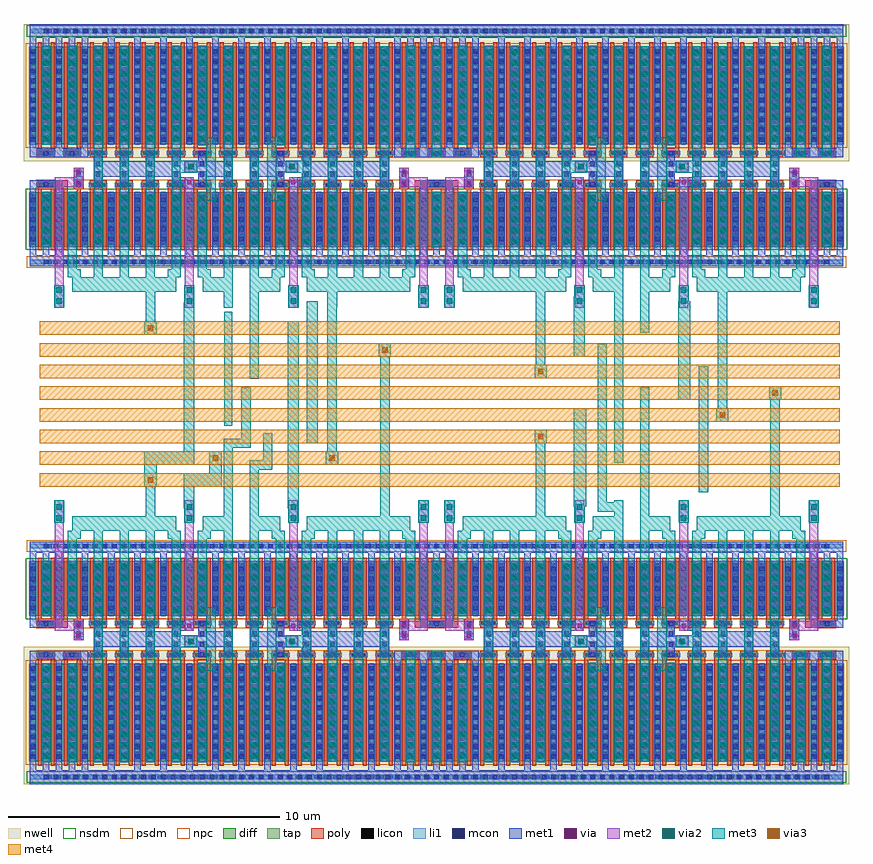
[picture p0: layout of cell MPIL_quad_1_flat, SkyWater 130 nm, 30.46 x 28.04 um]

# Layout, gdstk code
import gdstk
lib = gdstk.Library(unit=1e-6, precision=1e-09)
def R(c, l, rs):  # rectangles x0, y0, x1, y1
    for r in rs: c.add(gdstk.rectangle(r[:2], r[2:], *l))
def A(c, l, x, y, w, h, nx, ny, dx, dy):  # array of equal rectangles
    R(c, l, [(x+i*dx, y+j*dy, x+i*dx+w, y+j*dy+h) for i in range(nx) for j in range(ny)])
nwell = (64, 20)
diff = (65, 20)
tap = (65, 44)
poly = (66, 20)
licon = (66, 44)
li1 = (67, 20)
mcon = (67, 44)
met1 = (68, 20)
via = (68, 44)
met2 = (69, 20)
via2 = (69, 44)
met3 = (70, 20)
via3 = (70, 44)
met4 = (71, 20)
nsdm = (93, 44)
psdm = (94, 20)
npc = (95, 20)

mpil_quad_1_flat = lib.new_cell('MPIL_quad_1_flat')
R(mpil_quad_1_flat, nwell, [(-0.1,-17.57,30.36,-12.5), (-0.1,5.4,30.36,10.47)])
R(mpil_quad_1_flat, diff, [(0.105,-16.735,30.155,-13.135), (0.105,-11.36,30.155,-9.36), (0.105,2.26,30.155,4.26), (0.105,6.035,30.155,9.635)])
R(mpil_quad_1_flat, tap, [(0.13,-17.39,30.13,-17.22), (0.13,-8.88,30.13,-8.71), (0.13,1.61,30.13,1.78), (0.13,10.12,30.13,10.29)])
A(mpil_quad_1_flat, poly, 0.415, -16.89, 0.15, 3.91, 62, 2, 0.48, 22.77)
A(mpil_quad_1_flat, poly, 0.415, -12.98, 0.63, 0.33, 31, 2, 0.96, 18.53)
A(mpil_quad_1_flat, poly, 2.335, -11.8, 0.63, 0.33, 12, 2, 0.96, 16.17)
A(mpil_quad_1_flat, poly, 16.735, -11.8, 0.63, 0.33, 12, 2, 0.96, 16.17)
A(mpil_quad_1_flat, poly, 0.415, -11.47, 0.15, 2.24, 62, 2, 0.48, 13.6)
R(mpil_quad_1_flat, poly, [(0.415,-11.8,1.525,-11.47), (1.75,-11.8,2.11,-11.47), (13.75,-11.8,14.11,-11.47), (14.335,-11.8,15.925,-11.47), (16.15,-11.8,16.51,-11.47), (28.15,-11.8,28.51,-11.47), (28.735,-11.8,29.845,-11.47), (0.415,4.37,1.525,4.7), (1.75,4.37,2.11,4.7), (13.75,4.37,14.11,4.7), (14.335,4.37,15.925,4.7), (16.15,4.37,16.51,4.7), (28.15,4.37,28.51,4.7), (28.735,4.37,29.845,4.7)])
A(mpil_quad_1_flat, licon, 0.765, -17.39, 0.17, 0.17, 85, 2, 0.34, 8.51)
A(mpil_quad_1_flat, licon, 0.165, -16.55, 0.17, 0.17, 63, 10, 0.48, 0.34)
A(mpil_quad_1_flat, licon, 0.165, -11.295, 0.17, 0.17, 63, 6, 0.48, 0.34)
A(mpil_quad_1_flat, licon, 0.765, 1.61, 0.17, 0.17, 85, 2, 0.34, 8.51)
A(mpil_quad_1_flat, licon, 0.165, 2.325, 0.17, 0.17, 63, 6, 0.48, 0.34)
A(mpil_quad_1_flat, licon, 0.165, 6.22, 0.17, 0.17, 63, 10, 0.48, 0.34)
R(mpil_quad_1_flat, licon, [(0.47,-12.9,0.64,-12.73), (0.81,-12.9,0.98,-12.73), (1.43,-12.9,1.6,-12.73), (1.77,-12.9,1.94,-12.73), (2.39,-12.9,2.56,-12.73), (2.73,-12.9,2.9,-12.73), (3.35,-12.9,3.52,-12.73), (3.69,-12.9,3.86,-12.73), (4.31,-12.9,4.48,-12.73), (4.65,-12.9,4.82,-12.73), (5.27,-12.9,5.44,-12.73), (5.61,-12.9,5.78,-12.73), (6.23,-12.9,6.4,-12.73), (6.57,-12.9,6.74,-12.73), (7.19,-12.9,7.36,-12.73), (7.53,-12.9,7.7,-12.73), (8.155,-12.9,8.325,-12.73), (8.495,-12.9,8.665,-12.73), (9.115,-12.9,9.285,-12.73), (9.455,-12.9,9.625,-12.73), (10.075,-12.9,10.245,-12.73), (10.415,-12.9,10.585,-12.73), (11.035,-12.9,11.205,-12.73), (11.375,-12.9,11.545,-12.73), (11.995,-12.9,12.165,-12.73), (12.335,-12.9,12.505,-12.73), (12.955,-12.9,13.125,-12.73), (13.295,-12.9,13.465,-12.73), (13.915,-12.9,14.085,-12.73), (14.255,-12.9,14.425,-12.73), (14.875,-12.9,15.045,-12.73), (15.215,-12.9,15.385,-12.73), (15.83,-12.9,16,-12.73), (16.17,-12.9,16.34,-12.73), (16.79,-12.9,16.96,-12.73), (17.13,-12.9,17.3,-12.73), (17.75,-12.9,17.92,-12.73), (18.09,-12.9,18.26,-12.73), (18.71,-12.9,18.88,-12.73), (19.05,-12.9,19.22,-12.73), (19.67,-12.9,19.84,-12.73), (20.01,-12.9,20.18,-12.73), (20.63,-12.9,20.8,-12.73), (20.97,-12.9,21.14,-12.73), (21.59,-12.9,21.76,-12.73), (21.93,-12.9,22.1,-12.73), (22.555,-12.9,22.725,-12.73), (22.895,-12.9,23.065,-12.73), (23.515,-12.9,23.685,-12.73), (23.855,-12.9,24.025,-12.73), (24.475,-12.9,24.645,-12.73), (24.815,-12.9,24.985,-12.73), (25.435,-12.9,25.605,-12.73), (25.775,-12.9,25.945,-12.73), (26.395,-12.9,26.565,-12.73), (26.735,-12.9,26.905,-12.73), (27.355,-12.9,27.525,-12.73), (27.695,-12.9,27.865,-12.73), (28.315,-12.9,28.485,-12.73), (28.655,-12.9,28.825,-12.73), (29.275,-12.9,29.445,-12.73), (29.615,-12.9,29.785,-12.73), (1.84,-11.75,2.01,-11.58), (13.85,-11.75,14.02,-11.58), (16.24,-11.75,16.41,-11.58), (28.25,-11.75,28.42,-11.58), (0.47,-11.72,0.64,-11.55), (0.81,-11.72,0.98,-11.55), (2.39,-11.72,2.56,-11.55), (2.73,-11.72,2.9,-11.55), (3.35,-11.72,3.52,-11.55), (3.69,-11.72,3.86,-11.55), (4.31,-11.72,4.48,-11.55), (4.65,-11.72,4.82,-11.55), (5.27,-11.72,5.44,-11.55), (5.61,-11.72,5.78,-11.55), (6.23,-11.72,6.4,-11.55), (6.57,-11.72,6.74,-11.55), (7.19,-11.72,7.36,-11.55), (7.53,-11.72,7.7,-11.55), (8.155,-11.72,8.325,-11.55), (8.495,-11.72,8.665,-11.55), (9.115,-11.72,9.285,-11.55), (9.455,-11.72,9.625,-11.55), (10.075,-11.72,10.245,-11.55), (10.415,-11.72,10.585,-11.55), (11.035,-11.72,11.205,-11.55), (11.375,-11.72,11.545,-11.55), (11.995,-11.72,12.165,-11.55), (12.335,-11.72,12.505,-11.55), (12.955,-11.72,13.125,-11.55), (13.295,-11.72,13.465,-11.55), (14.875,-11.72,15.045,-11.55), (15.215,-11.72,15.385,-11.55), (16.79,-11.72,16.96,-11.55), (17.13,-11.72,17.3,-11.55), (17.75,-11.72,17.92,-11.55), (18.09,-11.72,18.26,-11.55), (18.71,-11.72,18.88,-11.55), (19.05,-11.72,19.22,-11.55), (19.67,-11.72,19.84,-11.55), (20.01,-11.72,20.18,-11.55), (20.63,-11.72,20.8,-11.55), (20.97,-11.72,21.14,-11.55), (21.59,-11.72,21.76,-11.55), (21.93,-11.72,22.1,-11.55), (22.555,-11.72,22.725,-11.55), (22.895,-11.72,23.065,-11.55), (23.515,-11.72,23.685,-11.55), (23.855,-11.72,24.025,-11.55), (24.475,-11.72,24.645,-11.55), (24.815,-11.72,24.985,-11.55), (25.435,-11.72,25.605,-11.55), (25.775,-11.72,25.945,-11.55), (26.395,-11.72,26.565,-11.55), (26.735,-11.72,26.905,-11.55), (27.355,-11.72,27.525,-11.55), (27.695,-11.72,27.865,-11.55), (29.275,-11.72,29.445,-11.55), (29.615,-11.72,29.785,-11.55), (0.47,4.45,0.64,4.62), (0.81,4.45,0.98,4.62), (2.39,4.45,2.56,4.62), (2.73,4.45,2.9,4.62), (3.35,4.45,3.52,4.62), (3.69,4.45,3.86,4.62), (4.31,4.45,4.48,4.62), (4.65,4.45,4.82,4.62), (5.27,4.45,5.44,4.62), (5.61,4.45,5.78,4.62), (6.23,4.45,6.4,4.62), (6.57,4.45,6.74,4.62), (7.19,4.45,7.36,4.62), (7.53,4.45,7.7,4.62), (8.155,4.45,8.325,4.62), (8.495,4.45,8.665,4.62), (9.115,4.45,9.285,4.62), (9.455,4.45,9.625,4.62), (10.075,4.45,10.245,4.62), (10.415,4.45,10.585,4.62), (11.035,4.45,11.205,4.62), (11.375,4.45,11.545,4.62), (11.995,4.45,12.165,4.62), (12.335,4.45,12.505,4.62), (12.955,4.45,13.125,4.62), (13.295,4.45,13.465,4.62), (14.875,4.45,15.045,4.62), (15.215,4.45,15.385,4.62), (16.79,4.45,16.96,4.62), (17.13,4.45,17.3,4.62), (17.75,4.45,17.92,4.62), (18.09,4.45,18.26,4.62), (18.71,4.45,18.88,4.62), (19.05,4.45,19.22,4.62), (19.67,4.45,19.84,4.62), (20.01,4.45,20.18,4.62), (20.63,4.45,20.8,4.62), (20.97,4.45,21.14,4.62), (21.59,4.45,21.76,4.62), (21.93,4.45,22.1,4.62), (22.555,4.45,22.725,4.62), (22.895,4.45,23.065,4.62), (23.515,4.45,23.685,4.62), (23.855,4.45,24.025,4.62), (24.475,4.45,24.645,4.62), (24.815,4.45,24.985,4.62), (25.435,4.45,25.605,4.62), (25.775,4.45,25.945,4.62), (26.395,4.45,26.565,4.62), (26.735,4.45,26.905,4.62), (27.355,4.45,27.525,4.62), (27.695,4.45,27.865,4.62), (29.275,4.45,29.445,4.62), (29.615,4.45,29.785,4.62), (1.84,4.48,2.01,4.65), (13.85,4.48,14.02,4.65), (16.24,4.48,16.41,4.65), (28.25,4.48,28.42,4.65), (0.47,5.63,0.64,5.8), (0.81,5.63,0.98,5.8), (1.43,5.63,1.6,5.8), (1.77,5.63,1.94,5.8), (2.39,5.63,2.56,5.8), (2.73,5.63,2.9,5.8), (3.35,5.63,3.52,5.8), (3.69,5.63,3.86,5.8), (4.31,5.63,4.48,5.8), (4.65,5.63,4.82,5.8), (5.27,5.63,5.44,5.8), (5.61,5.63,5.78,5.8), (6.23,5.63,6.4,5.8), (6.57,5.63,6.74,5.8), (7.19,5.63,7.36,5.8), (7.53,5.63,7.7,5.8), (8.155,5.63,8.325,5.8), (8.495,5.63,8.665,5.8), (9.115,5.63,9.285,5.8), (9.455,5.63,9.625,5.8), (10.075,5.63,10.245,5.8), (10.415,5.63,10.585,5.8), (11.035,5.63,11.205,5.8), (11.375,5.63,11.545,5.8), (11.995,5.63,12.165,5.8), (12.335,5.63,12.505,5.8), (12.955,5.63,13.125,5.8), (13.295,5.63,13.465,5.8), (13.915,5.63,14.085,5.8), (14.255,5.63,14.425,5.8), (14.875,5.63,15.045,5.8), (15.215,5.63,15.385,5.8), (15.83,5.63,16,5.8), (16.17,5.63,16.34,5.8), (16.79,5.63,16.96,5.8), (17.13,5.63,17.3,5.8), (17.75,5.63,17.92,5.8), (18.09,5.63,18.26,5.8), (18.71,5.63,18.88,5.8), (19.05,5.63,19.22,5.8), (19.67,5.63,19.84,5.8), (20.01,5.63,20.18,5.8), (20.63,5.63,20.8,5.8), (20.97,5.63,21.14,5.8), (21.59,5.63,21.76,5.8), (21.93,5.63,22.1,5.8), (22.555,5.63,22.725,5.8), (22.895,5.63,23.065,5.8), (23.515,5.63,23.685,5.8), (23.855,5.63,24.025,5.8), (24.475,5.63,24.645,5.8), (24.815,5.63,24.985,5.8), (25.435,5.63,25.605,5.8), (25.775,5.63,25.945,5.8), (26.395,5.63,26.565,5.8), (26.735,5.63,26.905,5.8), (27.355,5.63,27.525,5.8), (27.695,5.63,27.865,5.8), (28.315,5.63,28.485,5.8), (28.655,5.63,28.825,5.8), (29.275,5.63,29.445,5.8), (29.615,5.63,29.785,5.8)])
A(mpil_quad_1_flat, li1, 0.165, -16.755, 0.17, 3.64, 63, 2, 0.48, 22.77)
A(mpil_quad_1_flat, li1, 0.385, -12.9, 0.685, 0.17, 8, 2, 0.96, 18.53)
A(mpil_quad_1_flat, li1, 8.07, -12.9, 0.685, 0.17, 7, 2, 0.96, 18.53)
A(mpil_quad_1_flat, li1, 15.745, -12.9, 0.685, 0.17, 7, 2, 0.96, 18.53)
A(mpil_quad_1_flat, li1, 22.47, -12.9, 0.685, 0.17, 8, 2, 0.96, 18.53)
A(mpil_quad_1_flat, li1, 2.5, -12.73, 0.29, 0.42, 6, 2, 0.96, 0.59)
A(mpil_quad_1_flat, li1, 8.27, -12.73, 0.29, 0.42, 6, 2, 0.96, 0.59)
A(mpil_quad_1_flat, li1, 16.9, -12.73, 0.29, 0.42, 6, 2, 0.96, 0.59)
A(mpil_quad_1_flat, li1, 22.67, -12.73, 0.29, 0.42, 6, 2, 0.96, 0.59)
A(mpil_quad_1_flat, li1, 2.305, -11.72, 0.685, 0.17, 6, 2, 0.96, 16.17)
A(mpil_quad_1_flat, li1, 8.07, -11.72, 0.685, 0.17, 6, 2, 0.96, 16.17)
A(mpil_quad_1_flat, li1, 16.705, -11.72, 0.685, 0.17, 6, 2, 0.96, 16.17)
A(mpil_quad_1_flat, li1, 22.47, -11.72, 0.685, 0.17, 6, 2, 0.96, 16.17)
A(mpil_quad_1_flat, li1, 0.165, -11.38, 0.17, 2.04, 63, 2, 0.48, 13.62)
A(mpil_quad_1_flat, li1, 2.5, 4.62, 0.29, 0.42, 6, 2, 0.96, 0.59)
A(mpil_quad_1_flat, li1, 8.27, 4.62, 0.29, 0.42, 6, 2, 0.96, 0.59)
A(mpil_quad_1_flat, li1, 16.9, 4.62, 0.29, 0.42, 6, 2, 0.96, 0.59)
A(mpil_quad_1_flat, li1, 22.67, 4.62, 0.29, 0.42, 6, 2, 0.96, 0.59)
R(mpil_quad_1_flat, li1, [(0.13,-17.39,30.13,-17.22), (14.785,-12.9,15.475,-12.73), (0.58,-12.73,0.87,-12.65), (1.54,-12.73,1.83,-12.65), (14.03,-12.73,14.32,-12.65), (14.98,-12.73,15.28,-12.65), (15.94,-12.73,16.23,-12.65), (28.43,-12.73,28.72,-12.65), (29.39,-12.73,29.68,-12.65), (1.75,-12.14,2.11,-11.55), (13.75,-12.14,14.11,-11.55), (16.15,-12.14,16.51,-11.55), (28.15,-12.14,28.51,-11.55), (0.58,-11.8,0.87,-11.72), (14.98,-11.8,15.28,-11.72), (29.39,-11.8,29.68,-11.72), (0.385,-11.72,1.07,-11.55), (14.785,-11.72,15.475,-11.55), (29.19,-11.72,29.875,-11.55), (0.13,-8.88,30.13,-8.71), (0.13,1.61,30.13,1.78), (0.385,4.45,1.07,4.62), (1.75,4.45,2.11,5.04), (13.75,4.45,14.11,5.04), (14.785,4.45,15.475,4.62), (16.15,4.45,16.51,5.04), (28.15,4.45,28.51,5.04), (29.19,4.45,29.875,4.62), (0.58,4.62,0.87,4.7), (14.98,4.62,15.28,4.7), (29.39,4.62,29.68,4.7), (0.58,5.55,0.87,5.63), (1.54,5.55,1.83,5.63), (14.03,5.55,14.32,5.63), (14.98,5.55,15.28,5.63), (15.94,5.55,16.23,5.63), (28.43,5.55,28.72,5.63), (29.39,5.55,29.68,5.63), (14.785,5.63,15.475,5.8), (0.13,10.12,30.13,10.29)])
A(mpil_quad_1_flat, mcon, 0.645, -17.39, 0.17, 0.17, 81, 2, 0.36, 8.51)
A(mpil_quad_1_flat, mcon, 0.165, -16.64, 0.17, 0.17, 63, 10, 0.48, 0.36)
A(mpil_quad_1_flat, mcon, 0.64, -12.87, 0.17, 0.17, 8, 2, 0.96, 18.47)
A(mpil_quad_1_flat, mcon, 8.33, -12.87, 0.17, 0.17, 7, 2, 0.96, 18.47)
A(mpil_quad_1_flat, mcon, 16, -12.87, 0.17, 0.17, 7, 2, 0.96, 18.47)
A(mpil_quad_1_flat, mcon, 22.73, -12.87, 0.17, 0.17, 8, 2, 0.96, 18.47)
A(mpil_quad_1_flat, mcon, 2.56, -12.51, 0.17, 0.17, 6, 2, 0.96, 0.4)
A(mpil_quad_1_flat, mcon, 8.33, -12.51, 0.17, 0.17, 6, 2, 0.96, 0.4)
A(mpil_quad_1_flat, mcon, 16.96, -12.51, 0.17, 0.17, 6, 2, 0.96, 0.4)
A(mpil_quad_1_flat, mcon, 22.73, -12.51, 0.17, 0.17, 6, 2, 0.96, 0.4)
A(mpil_quad_1_flat, mcon, 2.56, -11.75, 0.17, 0.17, 6, 2, 0.96, 16.23)
A(mpil_quad_1_flat, mcon, 8.33, -11.75, 0.17, 0.17, 6, 2, 0.96, 16.23)
A(mpil_quad_1_flat, mcon, 13.85, -11.75, 0.17, 0.17, 3, 2, 1.195, 16.23)
A(mpil_quad_1_flat, mcon, 16.96, -11.75, 0.17, 0.17, 6, 2, 0.96, 16.23)
A(mpil_quad_1_flat, mcon, 22.73, -11.75, 0.17, 0.17, 6, 2, 0.96, 16.23)
A(mpil_quad_1_flat, mcon, 0.165, -11.165, 0.17, 0.17, 63, 5, 0.48, 0.36)
A(mpil_quad_1_flat, mcon, 0.645, 1.61, 0.17, 0.17, 81, 2, 0.36, 8.51)
A(mpil_quad_1_flat, mcon, 0.165, 2.455, 0.17, 0.17, 63, 5, 0.48, 0.36)
A(mpil_quad_1_flat, mcon, 2.56, 4.84, 0.17, 0.17, 6, 2, 0.96, 0.4)
A(mpil_quad_1_flat, mcon, 8.33, 4.84, 0.17, 0.17, 6, 2, 0.96, 0.4)
A(mpil_quad_1_flat, mcon, 16.96, 4.84, 0.17, 0.17, 6, 2, 0.96, 0.4)
A(mpil_quad_1_flat, mcon, 22.73, 4.84, 0.17, 0.17, 6, 2, 0.96, 0.4)
A(mpil_quad_1_flat, mcon, 0.165, 6.13, 0.17, 0.17, 63, 10, 0.48, 0.36)
R(mpil_quad_1_flat, mcon, [(15.045,-12.87,15.215,-12.7), (1.84,-12.11,2.01,-11.94), (13.85,-12.11,14.02,-11.94), (16.24,-12.11,16.41,-11.94), (28.25,-12.11,28.42,-11.94), (0.64,-11.75,0.81,-11.58), (1.84,-11.75,2.01,-11.58), (28.25,-11.75,28.42,-11.58), (29.45,-11.75,29.62,-11.58), (0.64,4.48,0.81,4.65), (1.84,4.48,2.01,4.65), (28.25,4.48,28.42,4.65), (29.45,4.48,29.62,4.65), (1.84,4.84,2.01,5.01), (13.85,4.84,14.02,5.01), (16.24,4.84,16.41,5.01), (28.25,4.84,28.42,5.01), (15.045,5.6,15.215,5.77)])
A(mpil_quad_1_flat, met1, 0.13, -17.07, 0.24, 4.09, 3, 2, 0.96, 22.95)
A(mpil_quad_1_flat, met1, 3.01, -17.07, 0.24, 3.94, 11, 2, 0.96, 23.1)
A(mpil_quad_1_flat, met1, 13.57, -17.07, 0.24, 4.09, 4, 2, 0.96, 22.95)
A(mpil_quad_1_flat, met1, 14.05, -17.07, 0.24, 0.31, 3, 2, 0.96, 26.73)
A(mpil_quad_1_flat, met1, 17.41, -17.07, 0.24, 3.94, 11, 2, 0.96, 23.1)
A(mpil_quad_1_flat, met1, 27.97, -17.07, 0.24, 4.09, 3, 2, 0.96, 22.95)
A(mpil_quad_1_flat, met1, 0.6, -16.76, 0.26, 3.64, 8, 2, 0.96, 22.78)
A(mpil_quad_1_flat, met1, 14.04, -16.76, 0.26, 3.64, 9, 2, 0.96, 22.78)
A(mpil_quad_1_flat, met1, 8.28, -16.755, 0.26, 3.64, 6, 2, 0.96, 22.77)
A(mpil_quad_1_flat, met1, 22.68, -16.755, 0.26, 3.64, 6, 2, 0.96, 22.77)
A(mpil_quad_1_flat, met1, 2.5, -12.9, 0.29, 0.39, 6, 2, 0.96, 18.31)
A(mpil_quad_1_flat, met1, 8.27, -12.9, 0.29, 0.39, 6, 2, 0.96, 18.31)
A(mpil_quad_1_flat, met1, 16.9, -12.9, 0.29, 0.39, 6, 2, 0.96, 18.31)
A(mpil_quad_1_flat, met1, 22.67, -12.9, 0.29, 0.39, 6, 2, 0.96, 18.31)
A(mpil_quad_1_flat, met1, 2.5, -11.94, 0.29, 0.39, 3, 2, 0.96, 16.39)
A(mpil_quad_1_flat, met1, 11.15, -11.94, 0.29, 0.39, 3, 2, 0.96, 16.39)
A(mpil_quad_1_flat, met1, 16.9, -11.94, 0.29, 0.39, 3, 2, 0.96, 16.39)
A(mpil_quad_1_flat, met1, 25.55, -11.94, 0.29, 0.39, 3, 2, 0.96, 16.39)
A(mpil_quad_1_flat, met1, 0.13, -11.8, 1.2, 0.25, 3, 2, 14.4, 16.25)
A(mpil_quad_1_flat, met1, 0.6, -11.38, 0.26, 2.04, 31, 2, 0.96, 13.62)
A(mpil_quad_1_flat, met1, 2.05, -11.36, 0.24, 2.33, 13, 2, 0.96, 13.29)
A(mpil_quad_1_flat, met1, 16.45, -11.36, 0.24, 2.33, 13, 2, 0.96, 13.29)
A(mpil_quad_1_flat, met1, 0.61, -9.34, 0.24, 0.31, 3, 2, 14.4, 11.27)
R(mpil_quad_1_flat, met1, [(0.13,-17.57,30.13,-17.07), (0.61,-17.07,0.85,-16.76), (1.57,-17.07,1.81,-16.76), (28.45,-17.07,28.69,-16.76), (29.41,-17.07,29.65,-16.76), (28.44,-16.76,28.7,-13.12), (29.4,-16.76,29.66,-13.12), (0.13,-12.98,2.29,-12.65), (13.57,-12.98,16.69,-12.65), (27.97,-12.98,30.13,-12.65), (2.5,-12.51,5.67,-11.94), (5.85,-12.51,7.59,-12.1), (8.27,-12.51,10.01,-12.1), (10.19,-12.51,13.36,-11.94), (16.9,-12.51,20.07,-11.94), (20.25,-12.51,21.99,-12.1), (22.67,-12.51,24.41,-12.1), (24.59,-12.51,27.76,-11.94), (1.75,-12.27,2.11,-11.55), (13.75,-12.27,14.11,-11.55), (16.15,-12.27,16.51,-11.55), (28.15,-12.27,28.51,-11.55), (6.34,-12.1,7.59,-11.94), (8.27,-12.1,9.52,-11.94), (20.74,-12.1,21.99,-11.94), (22.67,-12.1,23.92,-11.94), (5.38,-11.94,5.67,-11.91), (6.34,-11.94,6.63,-11.55), (7.3,-11.94,7.59,-11.55), (8.27,-11.94,8.56,-11.55), (9.23,-11.94,9.52,-11.55), (10.19,-11.94,10.48,-11.91), (19.78,-11.94,20.07,-11.91), (20.74,-11.94,21.03,-11.55), (21.7,-11.94,21.99,-11.55), (22.67,-11.94,22.96,-11.55), (23.63,-11.94,23.92,-11.55), (24.59,-11.94,24.88,-11.91), (5.38,-11.91,6.17,-11.55), (9.69,-11.91,10.48,-11.55), (19.78,-11.91,20.57,-11.55), (24.09,-11.91,24.88,-11.55), (0.13,-11.55,0.37,-9.03), (1.09,-11.55,1.33,-9.03), (5.85,-11.55,6.17,-11.5), (9.69,-11.55,10.19,-11.54), (14.53,-11.55,14.77,-9.03), (15.49,-11.55,15.73,-9.03), (20.25,-11.55,20.57,-11.5), (24.09,-11.55,24.59,-11.54), (28.93,-11.55,29.17,-9.03), (29.89,-11.55,30.13,-9.03), (0.13,-9.03,30.13,-8.63), (0.13,1.53,30.13,1.93), (0.13,1.93,0.37,4.45), (1.09,1.93,1.33,4.45), (14.53,1.93,14.77,4.45), (15.49,1.93,15.73,4.45), (28.93,1.93,29.17,4.45), (29.89,1.93,30.13,4.45), (5.85,4.4,6.17,4.45), (20.25,4.4,20.57,4.45), (9.69,4.44,10.19,4.45), (24.09,4.44,24.59,4.45), (1.75,4.45,2.11,5.17), (5.38,4.45,6.17,4.81), (6.34,4.45,6.63,4.84), (7.3,4.45,7.59,4.84), (8.27,4.45,8.56,4.84), (9.23,4.45,9.52,4.84), (9.69,4.45,10.48,4.81), (13.75,4.45,14.11,5.17), (16.15,4.45,16.51,5.17), (19.78,4.45,20.57,4.81), (20.74,4.45,21.03,4.84), (21.7,4.45,21.99,4.84), (22.67,4.45,22.96,4.84), (23.63,4.45,23.92,4.84), (24.09,4.45,24.88,4.81), (28.15,4.45,28.51,5.17), (5.38,4.81,5.67,4.84), (10.19,4.81,10.48,4.84), (19.78,4.81,20.07,4.84), (24.59,4.81,24.88,4.84), (2.5,4.84,5.67,5.41), (6.34,4.84,7.59,5), (8.27,4.84,9.52,5), (10.19,4.84,13.36,5.41), (16.9,4.84,20.07,5.41), (20.74,4.84,21.99,5), (22.67,4.84,23.92,5), (24.59,4.84,27.76,5.41), (5.85,5,7.59,5.41), (8.27,5,10.01,5.41), (20.25,5,21.99,5.41), (22.67,5,24.41,5.41), (0.13,5.55,2.29,5.88), (13.57,5.55,16.69,5.88), (27.97,5.55,30.13,5.88), (28.44,6.02,28.7,9.66), (29.4,6.02,29.66,9.66), (0.61,9.66,0.85,9.97), (1.57,9.66,1.81,9.97), (28.45,9.66,28.69,9.97), (29.41,9.66,29.65,9.97), (0.13,9.97,30.13,10.47)])
A(mpil_quad_1_flat, via, 0.655, -16.61, 0.15, 0.15, 8, 11, 0.96, 0.32)
A(mpil_quad_1_flat, via, 14.095, -16.61, 0.15, 0.15, 9, 11, 0.96, 0.32)
A(mpil_quad_1_flat, via, 28.495, -16.61, 0.15, 0.15, 1, 11, 0, 0.32)
A(mpil_quad_1_flat, via, 29.455, -16.61, 0.15, 0.15, 1, 11, 0, 0.32)
A(mpil_quad_1_flat, via, 8.335, -16.605, 0.15, 0.15, 6, 11, 0.96, 0.32)
A(mpil_quad_1_flat, via, 22.735, -16.605, 0.15, 0.15, 6, 11, 0.96, 0.32)
A(mpil_quad_1_flat, via, 0.655, -11.23, 0.15, 0.15, 31, 6, 0.96, 0.32)
A(mpil_quad_1_flat, via, 0.655, 2.38, 0.15, 0.15, 31, 6, 0.96, 0.32)
A(mpil_quad_1_flat, via, 8.335, 6.155, 0.15, 0.15, 6, 11, 0.96, 0.32)
A(mpil_quad_1_flat, via, 22.735, 6.155, 0.15, 0.15, 6, 11, 0.96, 0.32)
A(mpil_quad_1_flat, via, 0.655, 6.16, 0.15, 0.15, 8, 11, 0.96, 0.32)
A(mpil_quad_1_flat, via, 14.095, 6.16, 0.15, 0.15, 9, 11, 0.96, 0.32)
A(mpil_quad_1_flat, via, 28.495, 6.16, 0.15, 0.15, 1, 11, 0, 0.32)
A(mpil_quad_1_flat, via, 29.455, 6.16, 0.15, 0.15, 1, 11, 0, 0.32)
R(mpil_quad_1_flat, via, [(5.99,-12.38,6.14,-12.23), (9.72,-12.38,9.87,-12.23), (20.39,-12.38,20.54,-12.23), (24.12,-12.38,24.27,-12.23), (1.845,-12.185,1.995,-12.035), (13.865,-12.185,14.015,-12.035), (16.245,-12.185,16.395,-12.035), (28.265,-12.185,28.415,-12.035), (5.935,-11.8,6.085,-11.65), (9.775,-11.8,9.925,-11.65), (20.335,-11.8,20.485,-11.65), (24.175,-11.8,24.325,-11.65), (1.845,-11.785,1.995,-11.635), (13.865,-11.785,14.015,-11.635), (16.245,-11.785,16.395,-11.635), (28.265,-11.785,28.415,-11.635), (1.845,4.535,1.995,4.685), (13.865,4.535,14.015,4.685), (16.245,4.535,16.395,4.685), (28.265,4.535,28.415,4.685), (5.935,4.55,6.085,4.7), (9.775,4.55,9.925,4.7), (20.335,4.55,20.485,4.7), (24.175,4.55,24.325,4.7), (1.845,4.935,1.995,5.085), (13.865,4.935,14.015,5.085), (16.245,4.935,16.395,5.085), (28.265,4.935,28.415,5.085), (5.99,5.13,6.14,5.28), (9.72,5.13,9.87,5.28), (20.39,5.13,20.54,5.28), (24.12,5.13,24.27,5.28)])
A(mpil_quad_1_flat, met2, 0.585, -16.76, 0.285, 3.64, 8, 2, 0.96, 22.78)
A(mpil_quad_1_flat, met2, 15.945, -16.76, 0.285, 3.64, 7, 2, 0.96, 22.78)
A(mpil_quad_1_flat, met2, 8.27, -16.755, 0.285, 3.64, 6, 2, 0.96, 22.77)
A(mpil_quad_1_flat, met2, 22.67, -16.755, 0.285, 3.64, 6, 2, 0.96, 22.77)
A(mpil_quad_1_flat, met2, 0.585, -11.38, 0.285, 2.04, 8, 2, 0.96, 13.62)
A(mpil_quad_1_flat, met2, 8.27, -11.38, 0.285, 2.04, 7, 2, 0.96, 13.62)
A(mpil_quad_1_flat, met2, 15.945, -11.38, 0.285, 2.04, 7, 2, 0.96, 13.62)
A(mpil_quad_1_flat, met2, 22.67, -11.38, 0.285, 2.04, 8, 2, 0.96, 13.62)
R(mpil_quad_1_flat, met2, [(14.03,-16.76,14.315,-13.12), (14.985,-16.76,15.275,-13.12), (28.43,-16.76,28.715,-13.12), (29.39,-16.76,29.675,-13.12), (5.83,-12.53,6.3,-12.08), (9.56,-12.53,10.03,-12.08), (20.23,-12.53,20.7,-12.08), (23.96,-12.53,24.43,-12.08), (1.75,-12.27,2.11,-11.91), (13.75,-12.27,14.11,-11.91), (16.15,-12.27,16.51,-11.91), (28.15,-12.27,28.51,-11.91), (1.05,-11.91,2.11,-11.57), (5.85,-11.91,6.17,-7.93), (9.69,-11.91,10.01,-7.93), (13.75,-11.91,14.81,-11.57), (15.45,-11.91,16.51,-11.57), (20.25,-11.91,20.57,-7.93), (24.09,-11.91,24.41,-7.93), (28.15,-11.91,29.21,-11.57), (1.05,-11.57,1.37,-7.93), (1.545,-11.57,2.11,-11.55), (13.75,-11.57,14.315,-11.55), (14.49,-11.57,14.81,-7.93), (15.45,-11.57,15.77,-7.93), (15.945,-11.57,16.51,-11.55), (28.15,-11.57,28.715,-11.55), (28.89,-11.57,29.21,-7.93), (14.985,-11.38,15.275,-9.34), (1.04,-7.93,1.38,-7.11), (5.84,-7.93,6.18,-7.11), (9.68,-7.93,10.02,-7.11), (14.48,-7.93,14.82,-7.11), (15.44,-7.93,15.78,-7.11), (20.24,-7.93,20.58,-7.11), (24.08,-7.93,24.42,-7.11), (28.88,-7.93,29.22,-7.11), (1.04,0.01,1.38,0.83), (5.84,0.01,6.18,0.83), (9.68,0.01,10.02,0.83), (14.48,0.01,14.82,0.83), (15.44,0.01,15.78,0.83), (20.24,0.01,20.58,0.83), (24.08,0.01,24.42,0.83), (28.88,0.01,29.22,0.83), (1.05,0.83,1.37,4.47), (5.85,0.83,6.17,4.81), (9.69,0.83,10.01,4.81), (14.49,0.83,14.81,4.47), (15.45,0.83,15.77,4.47), (20.25,0.83,20.57,4.81), (24.09,0.83,24.41,4.81), (28.89,0.83,29.21,4.47), (14.985,2.24,15.275,4.28), (1.545,4.45,2.11,4.47), (13.75,4.45,14.315,4.47), (15.945,4.45,16.51,4.47), (28.15,4.45,28.715,4.47), (1.05,4.47,2.11,4.81), (13.75,4.47,14.81,4.81), (15.45,4.47,16.51,4.81), (28.15,4.47,29.21,4.81), (1.75,4.81,2.11,5.17), (13.75,4.81,14.11,5.17), (16.15,4.81,16.51,5.17), (28.15,4.81,28.51,5.17), (5.83,4.98,6.3,5.43), (9.56,4.98,10.03,5.43), (20.23,4.98,20.7,5.43), (23.96,4.98,24.43,5.43), (14.03,6.02,14.315,9.66), (14.985,6.02,15.275,9.66), (28.43,6.02,28.715,9.66), (29.39,6.02,29.675,9.66)])
A(mpil_quad_1_flat, via2, 0.625, -16.635, 0.2, 0.2, 8, 9, 0.96, 0.4)
A(mpil_quad_1_flat, via2, 14.07, -16.635, 0.2, 0.2, 1, 9, 0, 0.4)
A(mpil_quad_1_flat, via2, 15.03, -16.635, 0.2, 0.2, 1, 9, 0, 0.4)
A(mpil_quad_1_flat, via2, 15.985, -16.635, 0.2, 0.2, 7, 9, 0.96, 0.4)
A(mpil_quad_1_flat, via2, 28.47, -16.635, 0.2, 0.2, 1, 9, 0, 0.4)
A(mpil_quad_1_flat, via2, 29.43, -16.635, 0.2, 0.2, 1, 9, 0, 0.4)
A(mpil_quad_1_flat, via2, 8.31, -16.63, 0.2, 0.2, 6, 9, 0.96, 0.4)
A(mpil_quad_1_flat, via2, 22.71, -16.63, 0.2, 0.2, 6, 9, 0.96, 0.4)
A(mpil_quad_1_flat, via2, 0.625, -11.255, 0.2, 0.2, 8, 5, 0.96, 0.4)
A(mpil_quad_1_flat, via2, 8.31, -11.255, 0.2, 0.2, 8, 5, 0.96, 0.4)
A(mpil_quad_1_flat, via2, 15.985, -11.255, 0.2, 0.2, 7, 5, 0.96, 0.4)
A(mpil_quad_1_flat, via2, 22.71, -11.255, 0.2, 0.2, 8, 5, 0.96, 0.4)
A(mpil_quad_1_flat, via2, 0.625, 2.355, 0.2, 0.2, 8, 5, 0.96, 0.4)
A(mpil_quad_1_flat, via2, 8.31, 2.355, 0.2, 0.2, 8, 5, 0.96, 0.4)
A(mpil_quad_1_flat, via2, 15.985, 2.355, 0.2, 0.2, 7, 5, 0.96, 0.4)
A(mpil_quad_1_flat, via2, 22.71, 2.355, 0.2, 0.2, 8, 5, 0.96, 0.4)
A(mpil_quad_1_flat, via2, 8.31, 6.13, 0.2, 0.2, 6, 9, 0.96, 0.4)
A(mpil_quad_1_flat, via2, 22.71, 6.13, 0.2, 0.2, 6, 9, 0.96, 0.4)
A(mpil_quad_1_flat, via2, 0.625, 6.135, 0.2, 0.2, 8, 9, 0.96, 0.4)
A(mpil_quad_1_flat, via2, 14.07, 6.135, 0.2, 0.2, 1, 9, 0, 0.4)
A(mpil_quad_1_flat, via2, 15.03, 6.135, 0.2, 0.2, 1, 9, 0, 0.4)
A(mpil_quad_1_flat, via2, 15.985, 6.135, 0.2, 0.2, 7, 9, 0.96, 0.4)
A(mpil_quad_1_flat, via2, 28.47, 6.135, 0.2, 0.2, 1, 9, 0, 0.4)
A(mpil_quad_1_flat, via2, 29.43, 6.135, 0.2, 0.2, 1, 9, 0, 0.4)
R(mpil_quad_1_flat, via2, [(5.965,-12.405,6.165,-12.205), (9.695,-12.405,9.895,-12.205), (20.365,-12.405,20.565,-12.205), (24.095,-12.405,24.295,-12.205), (1.11,-7.86,1.31,-7.66), (5.91,-7.86,6.11,-7.66), (9.75,-7.86,9.95,-7.66), (14.55,-7.86,14.75,-7.66), (15.51,-7.86,15.71,-7.66), (20.31,-7.86,20.51,-7.66), (24.15,-7.86,24.35,-7.66), (28.95,-7.86,29.15,-7.66), (1.11,-7.45,1.31,-7.25), (5.91,-7.45,6.11,-7.25), (9.75,-7.45,9.95,-7.25), (14.55,-7.45,14.75,-7.25), (15.51,-7.45,15.71,-7.25), (20.31,-7.45,20.51,-7.25), (24.15,-7.45,24.35,-7.25), (28.95,-7.45,29.15,-7.25), (1.11,0.15,1.31,0.35), (5.91,0.15,6.11,0.35), (9.75,0.15,9.95,0.35), (14.55,0.15,14.75,0.35), (15.51,0.15,15.71,0.35), (20.31,0.15,20.51,0.35), (24.15,0.15,24.35,0.35), (28.95,0.15,29.15,0.35), (1.11,0.56,1.31,0.76), (5.91,0.56,6.11,0.76), (9.75,0.56,9.95,0.76), (14.55,0.56,14.75,0.76), (15.51,0.56,15.71,0.76), (20.31,0.56,20.51,0.76), (24.15,0.56,24.35,0.76), (28.95,0.56,29.15,0.76), (5.965,5.105,6.165,5.305), (9.695,5.105,9.895,5.305), (20.365,5.105,20.565,5.305), (24.095,5.105,24.295,5.305)])
A(mpil_quad_1_flat, met3, 2.48, -16.76, 0.34, 8.53, 3, 2, 0.96, 17.89)
A(mpil_quad_1_flat, met3, 16.88, -16.76, 0.34, 8.53, 3, 2, 0.96, 17.89)
A(mpil_quad_1_flat, met3, 11.12, -16.755, 0.34, 8.525, 3, 2, 0.96, 17.885)
A(mpil_quad_1_flat, met3, 25.52, -16.755, 0.34, 8.525, 3, 2, 0.96, 17.885)
A(mpil_quad_1_flat, met3, 0.56, -11.38, 0.34, 2.04, 3, 2, 14.4, 13.62)
R(mpil_quad_1_flat, met3, [(0.56,-16.76,0.9,-13.12), (1.52,-16.76,1.86,-13.12), (5.36,-16.76,5.7,-12.53), (6.32,-16.76,6.66,-13.39), (7.28,-16.76,7.62,-8.23), (14,-16.76,14.34,-12.65), (14.96,-16.76,15.3,-12.65), (15.92,-16.76,16.26,-13.12), (19.76,-16.76,20.1,-12.53), (20.72,-16.76,21.06,-13.39), (21.68,-16.76,22.02,-8.23), (28.4,-16.76,28.74,-12.65), (29.36,-16.76,29.7,-12.65), (8.24,-16.755,8.58,-8.23), (9.2,-16.755,9.54,-13.39), (10.16,-16.755,10.5,-12.53), (22.64,-16.755,22.98,-8.23), (23.6,-16.755,23.94,-13.39), (24.56,-16.755,24.9,-12.53), (6.32,-13.39,6.98,-13.09), (8.88,-13.39,9.54,-13.09), (20.72,-13.39,21.38,-13.09), (23.28,-13.39,23.94,-13.09), (6.64,-13.09,6.98,-11.36), (8.88,-13.09,9.22,-11.36), (21.04,-13.09,21.38,-11.36), (23.28,-13.09,23.62,-11.36), (5.36,-12.53,6.3,-12.08), (9.56,-12.53,10.5,-12.08), (19.76,-12.53,20.7,-12.08), (23.96,-12.53,24.9,-12.08), (5.36,-12.08,5.7,-8.53), (10.16,-12.08,10.5,-8.53), (19.76,-12.08,20.1,-8.53), (24.56,-12.08,24.9,-8.53), (1.52,-11.38,1.86,-8.53), (14,-11.38,14.34,-8.53), (15.92,-11.38,16.26,-8.53), (28.4,-11.38,28.74,-8.53), (6.32,-11.36,6.98,-11.05), (8.88,-11.36,9.54,-11.05), (20.72,-11.36,21.38,-11.05), (23.28,-11.36,23.94,-11.05), (6.32,-11.05,6.66,-8.53), (9.2,-11.05,9.54,-8.53), (20.72,-11.05,21.06,-8.53), (23.6,-11.05,23.94,-8.53), (1.52,-8.53,2,-8.23), (5.22,-8.53,5.7,-8.23), (6.32,-8.53,6.8,-8.23), (9.06,-8.53,9.54,-8.23), (10.16,-8.53,10.64,-8.23), (13.86,-8.53,14.34,-8.23), (15.92,-8.53,16.4,-8.23), (19.62,-8.53,20.1,-8.23), (20.72,-8.53,21.2,-8.23), (23.46,-8.53,23.94,-8.23), (24.56,-8.53,25.04,-8.23), (28.26,-8.53,28.74,-8.23), (1.7,-8.23,5.52,-7.7), (6.5,-8.23,7.62,-7.7), (8.24,-8.23,9.36,-7.7), (10.34,-8.23,14.16,-7.7), (16.1,-8.23,19.92,-7.7), (20.9,-8.23,22.02,-7.7), (22.64,-8.23,23.76,-7.7), (24.74,-8.23,28.56,-7.7), (1.02,-7.93,1.4,-7.11), (5.82,-7.93,6.2,-7.4), (9.66,-7.93,10.04,-7.4), (14.46,-7.93,14.84,-7.11), (15.42,-7.93,15.8,-7.11), (20.22,-7.93,20.6,-7.35), (24.06,-7.93,24.44,-7.11), (28.86,-7.93,29.24,-7.11), (4.4,-7.7,4.75,-6.6), (7.28,-7.7,7.62,-5.17), (8.24,-7.7,8.58,-5.97), (13.05,-7.7,13.4,-1.8), (18.8,-7.7,19.15,-5), (21.68,-7.7,22.02,-7.52), (22.64,-7.7,22.98,-2.93), (27.45,-7.7,27.8,-3.4), (21.08,-7.52,22.02,-7.18), (5.8,-7.4,6.2,-6.6), (9.65,-7.4,10.05,-0.5), (20.2,-7.35,20.65,-3.7), (21.08,-7.18,21.42,-1.33), (21.68,-7.18,22.02,-7.1), (24.8,-6.8,25.15,-2.15), (4.35,-6.6,4.8,-5.8), (5.8,-6.6,7.2,-6.1), (6.75,-6.1,7.2,-5.3), (8.24,-5.97,9.07,-5.63), (4.35,-5.8,6.2,-5.3), (11.05,-5.8,11.5,-5.3), (21.68,-5.72,22.02,0.6), (8.73,-5.63,9.07,-4.63), (5.8,-5.3,6.2,0.2), (11.1,-5.3,11.45,0.01), (7.28,-5.17,8.27,-4.83), (10.35,-5,10.75,0.25), (18.75,-5,19.2,-4.5), (7.93,-4.83,8.27,-2.93), (7.3,-4.35,7.6,-0.15), (25.45,-4.2,25.9,-3.7), (25.5,-3.7,25.85,0.6), (24.05,-3.4,24.5,0.25), (27.4,-3.4,27.85,-2.9), (8.24,-2.62,8.58,0.6), (18.75,-2.6,19.2,-2.1), (18.8,-2.1,19.15,0.6), (13,-1.8,13.45,-1.3), (20.2,-1.8,20.6,0.4), (4.35,-1,4.8,-0.5), (22.64,-0.92,22.98,0.6), (4.4,-0.5,4.75,0.6), (7.28,0,7.62,0.6), (1.02,0.01,1.4,0.83), (9.66,0.01,10.04,0.83), (11.1,0.01,11.46,0.6), (14.46,0.01,14.84,0.83), (15.42,0.01,15.8,0.83), (28.86,0.01,29.24,0.83), (5.82,0.2,6.2,0.83), (24.06,0.25,24.44,0.83), (20.22,0.4,20.6,0.83), (1.7,0.6,5.52,1.13), (6.5,0.6,7.62,1.13), (8.24,0.6,9.36,1.13), (10.34,0.6,14.16,1.13), (16.1,0.6,19.92,1.13), (20.9,0.6,22.02,1.13), (22.64,0.6,23.76,1.13), (24.74,0.6,28.56,1.13), (1.52,1.13,2,1.43), (5.22,1.13,5.7,1.43), (6.32,1.13,6.8,1.43), (7.28,1.13,7.62,9.66), (8.24,1.13,8.58,9.655), (9.06,1.13,9.54,1.43), (10.16,1.13,10.64,1.43), (13.86,1.13,14.34,1.43), (15.92,1.13,16.4,1.43), (19.62,1.13,20.1,1.43), (20.72,1.13,21.2,1.43), (21.68,1.13,22.02,9.66), (22.64,1.13,22.98,9.655), (23.46,1.13,23.94,1.43), (24.56,1.13,25.04,1.43), (28.26,1.13,28.74,1.43), (1.52,1.43,1.86,4.28), (5.36,1.43,5.7,4.98), (6.32,1.43,6.66,3.95), (9.2,1.43,9.54,3.95), (10.16,1.43,10.5,4.98), (14,1.43,14.34,4.28), (15.92,1.43,16.26,4.28), (19.76,1.43,20.1,4.98), (20.72,1.43,21.06,3.95), (23.6,1.43,23.94,3.95), (24.56,1.43,24.9,4.98), (28.4,1.43,28.74,4.28), (6.32,3.95,6.98,4.26), (8.88,3.95,9.54,4.26), (20.72,3.95,21.38,4.26), (23.28,3.95,23.94,4.26), (6.64,4.26,6.98,5.99), (8.88,4.26,9.22,5.99), (21.04,4.26,21.38,5.99), (23.28,4.26,23.62,5.99), (5.36,4.98,6.3,5.43), (9.56,4.98,10.5,5.43), (19.76,4.98,20.7,5.43), (23.96,4.98,24.9,5.43), (5.36,5.43,5.7,9.66), (10.16,5.43,10.5,9.655), (19.76,5.43,20.1,9.66), (24.56,5.43,24.9,9.655), (14,5.55,14.34,9.66), (14.96,5.55,15.3,9.66), (28.4,5.55,28.74,9.66), (29.36,5.55,29.7,9.66), (6.32,5.99,6.98,6.29), (8.88,5.99,9.54,6.29), (20.72,5.99,21.38,6.29), (23.28,5.99,23.94,6.29), (0.56,6.02,0.9,9.66), (1.52,6.02,1.86,9.66), (15.92,6.02,16.26,9.66), (6.32,6.29,6.66,9.66), (9.2,6.29,9.54,9.655), (20.72,6.29,21.06,9.66), (23.6,6.29,23.94,9.655)])
R(mpil_quad_1_flat, via3, [(4.475,-6.45,4.675,-6.25), (6.875,-5.65,7.075,-5.45), (11.175,-5.65,11.375,-5.45), (18.875,-4.85,19.075,-4.65), (25.575,-4.05,25.775,-3.85), (27.525,-3.25,27.725,-3.05), (18.875,-2.45,19.075,-2.25), (13.125,-1.65,13.325,-1.45), (4.475,-0.85,4.675,-0.65)])
A(mpil_quad_1_flat, met4, 0.5, -6.6, 29.5, 0.5, 1, 8, 0, 0.8)
R(mpil_quad_1_flat, nsdm, [(0.005,-17.515,30.255,-17.095), (-0.02,-11.485,30.28,-9.235), (-0.02,2.135,30.28,4.385), (0.005,9.995,30.255,10.415)])
R(mpil_quad_1_flat, psdm, [(-0.02,-16.86,30.28,-13.01), (0.005,-9.005,30.255,-8.585), (0.005,1.485,30.255,1.905), (-0.02,5.91,30.28,9.76)])
R(mpil_quad_1_flat, npc, [(0.37,-13,29.885,-12.63), (1.74,-11.85,2.11,-11.82), (13.75,-11.85,14.12,-11.82), (16.14,-11.85,16.51,-11.82), (28.15,-11.85,28.52,-11.82), (0.37,-11.82,1.08,-11.45), (1.74,-11.82,14.12,-11.48), (14.775,-11.82,15.485,-11.45), (16.14,-11.82,28.52,-11.48), (29.175,-11.82,29.885,-11.45), (2.29,-11.48,13.565,-11.45), (16.69,-11.48,27.965,-11.45), (0.37,4.35,1.08,4.72), (2.29,4.35,13.565,4.38), (14.775,4.35,15.485,4.72), (16.69,4.35,27.965,4.38), (29.175,4.35,29.885,4.72), (1.74,4.38,14.12,4.72), (16.14,4.38,28.52,4.72), (1.74,4.72,2.11,4.75), (13.75,4.72,14.12,4.75), (16.14,4.72,16.51,4.75), (28.15,4.72,28.52,4.75), (0.37,5.53,29.885,5.9)])

lib.write_gds('MPIL_quad_1_flat.gds')
